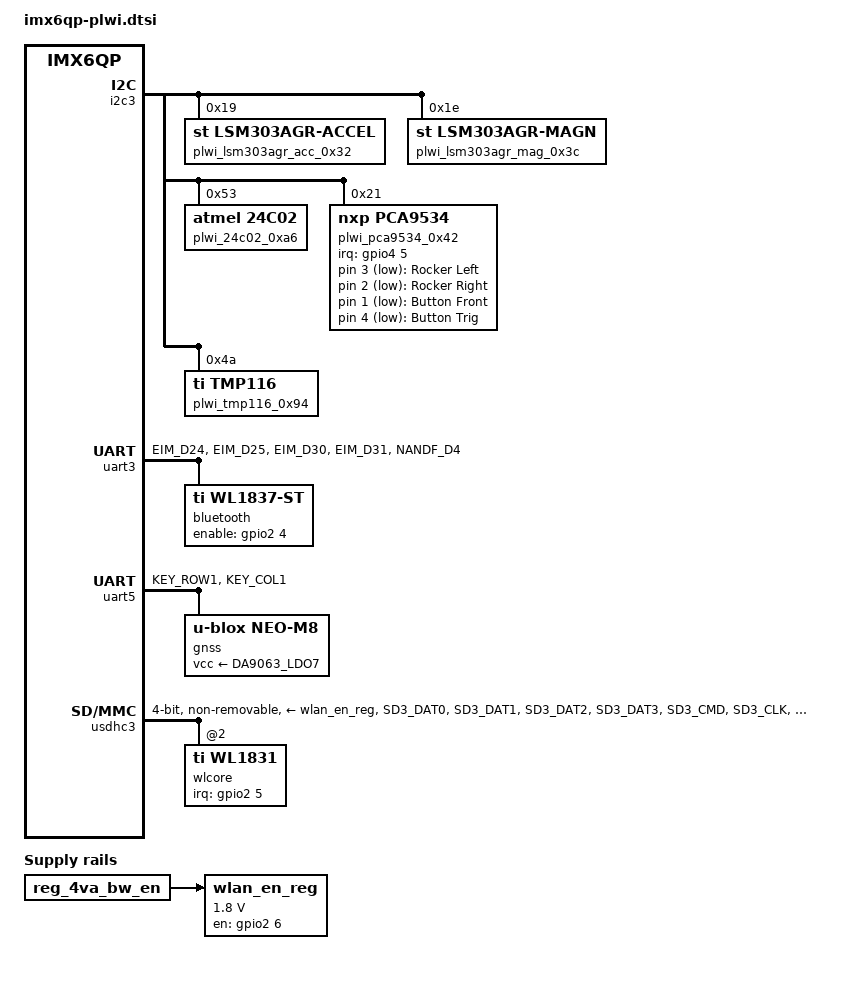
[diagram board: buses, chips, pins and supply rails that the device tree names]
// SPDX-License-Identifier: GPL-2.0
/*
 * Copyright 2024 FLIR Systems.
 *
 * The code contained herein is licensed under the GNU General Public
 * License. You may obtain a copy of the GNU General Public License
 * Version 2 or later at the following locations:
 *
 * http://www.opensource.org/licenses/gpl-license.html
 * http://www.gnu.org/copyleft/gpl.html
 */

#include <dt-bindings/gpio/gpio.h>
#include <dt-bindings/input/input.h>
#include <dt-bindings/interrupt-controller/irq.h>
#include "imx6q-pinfunc.h"

/ {
	plwi_buttons {
		compatible = "gpio-keys";
		autorepeat;

		/*
		 * PLWI rev A has some bugs, only Right and Trig is mapped correctly.
		 * We can swap Left and Front mappings, to get Left in correct place.
		 * But PWR_ON_SW_n and Front are still swapped and need HW changes.
		 */
		pb_left {
			label = "Rocker Left";
			gpio-key;
			gpios = <&plwi_pca9534_0x42 3 GPIO_ACTIVE_LOW>; /* Should be 1 */
			linux,code = <KEY_LEFT>;
		};
		pb_right {
			label = "Rocker Right";
			gpio-key;
			gpios = <&plwi_pca9534_0x42 2 GPIO_ACTIVE_LOW>;
			linux,code = <KEY_RIGHT>;
		};
		pb_front {
			label = "Button Front";
			gpio-key;
			gpios = <&plwi_pca9534_0x42 1 GPIO_ACTIVE_LOW>; /* Should be 3 */
			linux,code = <KEY_ENTER>;
		};
		pb_trigger {
			label = "Button Trig";
			gpio-key;
			gpios = <&plwi_pca9534_0x42 4 GPIO_ACTIVE_LOW>;
			linux,code = <KEY_F6>;
		};
	};

	regulators {
		compatible = "simple-bus";

		wlan_en_reg: wlan_en_reg {
			compatible = "regulator-fixed";
			regulator-name = "wlan-en";
			regulator-min-microvolt = <1800000>;
			regulator-max-microvolt = <1800000>;
			gpio = <&gpio2 6 GPIO_ACTIVE_HIGH>;
			regulator-boot-on;
			startup-delay-us = <70000>;
			enable-active-high;
			vin-supply = <&reg_4va_bw_en>;
		};
	};
};

&i2c3 {
	/* This magnetometer is present in rev A, replaced with acc/mag below */
	plwi_mag_bm1422_0x1e: plwi_mag_bm1422_0x1e@f {
		compatible = "rohm,bm1422";
		reg = <0x0F>;
		status = "disabled";
	};

	/* Accelerometer: DRDY and INTS are not connected */
	plwi_lsm303agr_acc_0x32: plwi_lsm303agr_acc_0x32@19 {
		compatible = "st,lsm303agr-accel";
		reg = <0x19>;
		//vdd-supply = <&DA9063_LDO11>;
		status = "okay"; /* Present in rev B */
	};

	/* Magnetometer: DRDY and INTS are not connected */
	plwi_lsm303agr_mag_0x3c: plwi_lsm303agr_mag_0x3c@1e {
		compatible = "st,lsm303agr-magn";
		reg = <0x1e>;
		//vdd-supply = <&DA9063_LDO11>;
		status = "okay"; /* Present in rev B */
	};

	/* EEPROM */
	plwi_24c02_0xa6: plwi_24c02_0xa6@53 {
		compatible = "atmel,24c02";
		reg = <0x53>;
		pagesize = <16>;
		status = "okay";
	};

	/* GPIO-Expander for keypad */
	plwi_pca9534_0x42: plwi_pca9534_0x42@21 {
		compatible = "nxp,pca9534";
		reg = <0x21>;
		gpio-controller;
		// Int: I2C3_ALERT_n, GPIO4.5
		interrupt-parent = <&gpio4>;
		interrupts = <5 IRQ_TYPE_EDGE_FALLING>;
		interrupt-controller;
		interrupts-shared;
		#interrupt-cells = <2>;
		#gpio-cells = <2>;
		status = "okay";
	};

	/* Temperature sensor */
	plwi_tmp116_0x94: plwi_tmp116_0x94@4a {
		compatible = "ti,tmp116";
		reg = <0x4a>;
		//vdd-supply = <&DA9063_LDO11>;
		status = "okay";
	};
};

&iomuxc {
	pinctrl_uart3: uart3grp {
		fsl,pins = <
			MX6QDL_PAD_EIM_D24__UART3_TX_DATA	0x1b0b1
			MX6QDL_PAD_EIM_D25__UART3_RX_DATA	0x1b0b1
			MX6QDL_PAD_EIM_D30__UART3_CTS_B		0x1b0b1
			MX6QDL_PAD_EIM_D31__UART3_RTS_B		0x1b0b1
			/* BT_EN pin */
			MX6QDL_PAD_NANDF_D4__GPIO2_IO04		0x10
		>;
	};

	pinctrl_uart3_sleep: uart3grpsleep {
		fsl,pins = <
			// 100 kOhm pull down GPIO input
			MX6QDL_PAD_EIM_D24__GPIO3_IO24		0x3010
			MX6QDL_PAD_EIM_D25__GPIO3_IO25		0x3010
			MX6QDL_PAD_EIM_D30__GPIO3_IO30		0x3010
			MX6QDL_PAD_EIM_D31__GPIO3_IO31		0x3010
		>;
	};

	pinctrl_uart5: uart5grp {
		fsl,pins = <
			MX6QDL_PAD_KEY_ROW1__UART5_RX_DATA	0x1b0b1
			MX6QDL_PAD_KEY_COL1__UART5_TX_DATA	0x1b0b1
		>;
	};

	pinctrl_usdhc3: usdhc3grp {
		fsl,pins = <
			/* Use 22 kohm pull up on SD signals */
			MX6QDL_PAD_SD3_DAT0__SD3_DATA0		0x1f020
			MX6QDL_PAD_SD3_DAT1__SD3_DATA1		0x1f020
			MX6QDL_PAD_SD3_DAT2__SD3_DATA2		0x1f020
			MX6QDL_PAD_SD3_DAT3__SD3_DATA3		0x1f020
			MX6QDL_PAD_SD3_CMD__SD3_CMD		    0x1f020
			MX6QDL_PAD_SD3_CLK__SD3_CLK		    0x10020
			/* WLAN_EN pin */
			MX6QDL_PAD_NANDF_D6__GPIO2_IO06		0x10
			/* WLAN_IRQ pin */
			MX6QDL_PAD_NANDF_D5__GPIO2_IO05	 0x1f010
		>;
	};

	pinctrl_usdhc3_sleep: usdhc3grpsleep {
		fsl,pins = <
			// 100 kOhm pull down GPIO input
			MX6QDL_PAD_SD3_CMD__GPIO7_IO02		0x3010
			MX6QDL_PAD_SD3_CLK__GPIO7_IO03		0x3010
			MX6QDL_PAD_SD3_DAT0__GPIO7_IO04		0x3010
			MX6QDL_PAD_SD3_DAT1__GPIO7_IO05		0x3010
			MX6QDL_PAD_SD3_DAT2__GPIO7_IO06		0x3010
			MX6QDL_PAD_SD3_DAT3__GPIO7_IO07		0x3010
			/* WLAN_IRQ pin */
			MX6QDL_PAD_NANDF_D5__GPIO2_IO05		0x3010
		>;
	};
};

/* Bluetooth */
&uart3 {
	pinctrl-names = "default", "sleep";
	pinctrl-0 = <&pinctrl_uart3>;
	pinctrl-1 = <&pinctrl_uart3_sleep>;
	uart-has-rtscts;
	status = "okay";
	dma-names = "rx","";

	bluetooth {
		compatible = "ti,wl1837-st";
		max-speed = <3000000>;
		enable-gpios = <&gpio2 4 GPIO_ACTIVE_HIGH>;
	};
};


&uart5 {
	pinctrl-names = "default";
	pinctrl-0 = <&pinctrl_uart5>;
	status = "okay";

	/* GPS */
	gnss {
		compatible = "u-blox,neo-m8";

		vcc-supply = <&DA9063_LDO7>;
		current-speed = <9600>;
	};
};

/* WiFi */
&usdhc3 {
	pinctrl-names = "default", "sleep";
	pinctrl-0 = <&pinctrl_usdhc3>;
	pinctrl-1 = <&pinctrl_usdhc3_sleep>;
	vmmc-supply = <&wlan_en_reg>;
	bus-width = <4>;
	non-removable;
	no-1-8-v;
	keep-power-in-suspend;
	cap-power-off-card;
	max-frequency = <25000000>;
	status = "okay";
	#address-cells = <1>;
	#size-cells = <0>;

	wlcore: wlcore@2 {
		compatible = "ti,wl1831";
		reg = <2>;
		interrupt-parent = <&gpio2>;
		interrupts = <5 IRQ_TYPE_LEVEL_HIGH>;
		platform-quirks = <1>;
		tcxo-clock-frequency = <26000000>;
		ref-clock-frequency = <26000000>;
	};
};

